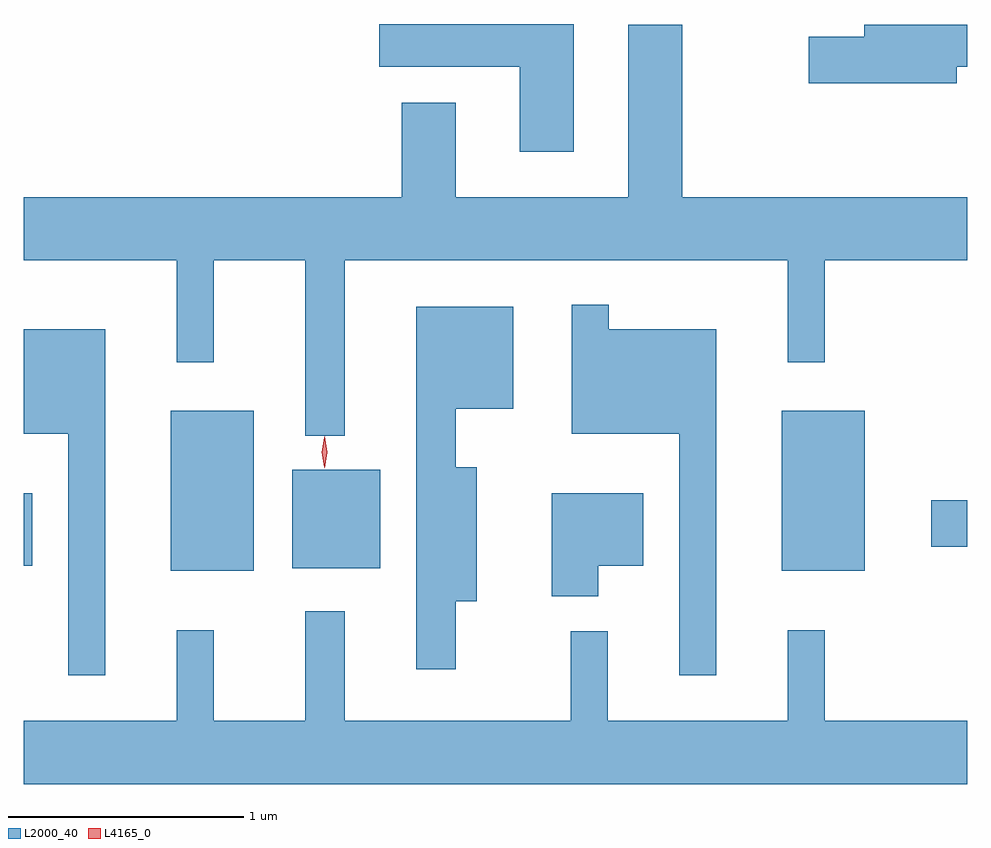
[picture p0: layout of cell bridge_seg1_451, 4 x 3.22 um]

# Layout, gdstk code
import gdstk
lib = gdstk.Library(unit=1e-6, precision=1e-09)
def R(c, l, rs):  # rectangles x0, y0, x1, y1
    for r in rs: c.add(gdstk.rectangle(r[:2], r[2:], *l))
def P(c, l, *ps):  # polygons
    for p in ps: c.add(gdstk.Polygon(p, *l))
L2000_40 = (2000, 40)
L4165_0 = (4165, 0)

bridge_seg1_451 = lib.new_cell('bridge_seg1_451')
R(bridge_seg1_451, L2000_40, [(243.271,856.081,243.624,856.759), (245.861,856.081,246.214,856.759), (243.786,856.091,244.159,856.509), (242.648,856.101,242.684,856.409), (246.496,856.181,246.648,856.379)])
P(bridge_seg1_451, L2000_40, [(244.979,858.398),(244.156,858.398),(244.156,858.216),(244.751,858.216),(244.751,857.856),(244.979,857.856)],
  [(244.009,857.396),(245.886,857.396),(245.886,856.963),(246.044,856.963),(246.044,857.396),(246.648,857.396),(246.648,857.664),(245.439,857.664),(245.439,858.394),(245.211,858.394),(245.211,857.664),(244.479,857.664),(244.479,858.064),(244.251,858.064),(244.251,857.664),(242.648,857.664),(242.648,857.396),(243.296,857.396),(243.296,856.963),(243.454,856.963),(243.454,857.396),(243.841,857.396),(243.841,856.653),(244.009,856.653)],
  [(246.604,858.216),(246.648,858.216),(246.648,858.394),(246.211,858.394),(246.211,858.344),(245.976,858.344),(245.976,858.146),(246.604,858.146)],
  [(245.584,857.104),(245.129,857.104),(245.129,857.208),(244.971,857.208),(244.971,856.661),(245.426,856.661),(245.426,855.638),(245.584,855.638)],
  [(244.479,855.951),(244.569,855.951),(244.569,856.519),(244.479,856.519),(244.479,856.766),(244.724,856.766),(244.724,857.199),(244.311,857.199),(244.311,855.663),(244.479,855.663)],
  [(242.994,857.104),(242.648,857.104),(242.648,856.661),(242.836,856.661),(242.836,855.638),(242.994,855.638)],
  [(245.084,856.101),(245.274,856.101),(245.274,856.409),(244.886,856.409),(244.886,855.971),(245.084,855.971)],
  [(246.648,855.444),(246.044,855.444),(246.044,855.828),(245.886,855.828),(245.886,855.444),(245.124,855.444),(245.124,855.823),(244.966,855.823),(244.966,855.444),(244.009,855.444),(244.009,855.908),(243.841,855.908),(243.841,855.444),(243.454,855.444),(243.454,855.828),(243.296,855.828),(243.296,855.444),(242.648,855.444),(242.648,855.176),(246.648,855.176)])
P(bridge_seg1_451, L4165_0, [(243.924,856.514),(243.924,856.514),(243.914,856.582),(243.924,856.65),(243.925,856.65),(243.925,856.65),(243.934,856.582),(243.924,856.514)],
  [(243.921,856.518),(243.921,856.518),(243.912,856.582),(243.921,856.647),(243.921,856.647),(243.922,856.647),(243.931,856.582),(243.922,856.518)])

lib.write_gds('bridge_seg1_451.gds')
